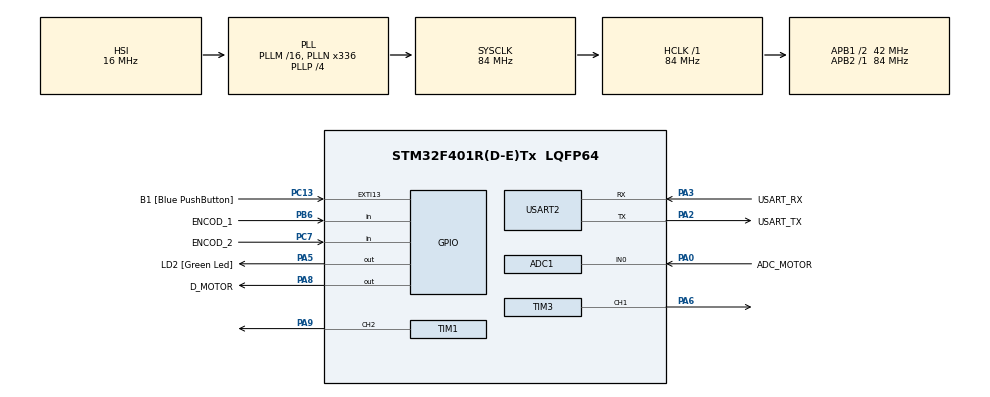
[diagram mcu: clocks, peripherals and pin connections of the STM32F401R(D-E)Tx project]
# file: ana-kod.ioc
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ADC1.Channel-2\#ChannelRegularConversion=ADC_CHANNEL_0
ADC1.NbrOfConversionFlag=1
ADC1.Rank-2\#ChannelRegularConversion=1
ADC1.SamplingTime-2\#ChannelRegularConversion=ADC_SAMPLETIME_3CYCLES
ADC1.master=1
Mcu.Family=STM32F4
Mcu.Name=STM32F401R(D-E)Tx
Mcu.Package=LQFP64
NVIC.PriorityGroup=NVIC_PRIORITYGROUP_0
PA0-WKUP.GPIO_Label=ADC_MOTOR
PA0-WKUP.Signal=ADCx_IN0
PA13.GPIO_Label=TMS
PA13.Mode=Serial_Wire
PA13.Signal=SYS_JTMS-SWDIO
PA14.GPIO_Label=TCK
PA14.Mode=Serial_Wire
PA14.Signal=SYS_JTCK-SWCLK
PA2.GPIO_Label=USART_TX
PA2.GPIO_Mode=GPIO_MODE_AF_PP
PA2.GPIO_PuPd=GPIO_NOPULL
PA2.GPIO_Speed=GPIO_SPEED_FREQ_LOW
PA2.Mode=Asynchronous
PA2.Signal=USART2_TX
PA3.GPIO_Label=USART_RX
PA3.GPIO_Mode=GPIO_MODE_AF_PP
PA3.GPIO_PuPd=GPIO_NOPULL
PA3.GPIO_Speed=GPIO_SPEED_FREQ_LOW
PA3.Mode=Asynchronous
PA3.Signal=USART2_RX
PA5.GPIO_Label=LD2 [Green Led]
PA5.GPIO_Mode=GPIO_MODE_OUTPUT_PP
PA5.GPIO_PuPd=GPIO_NOPULL
PA5.GPIO_Speed=GPIO_SPEED_FREQ_LOW
PA5.Signal=GPIO_Output
PA6.Signal=S_TIM3_CH1
PA8.GPIO_Label=D_MOTOR
PA8.Signal=GPIO_Output
PA9.Signal=S_TIM1_CH2
PB3.GPIO_Label=SWO
PB3.Signal=SYS_JTDO-SWO
PB6.GPIO_Label=ENCOD_1
PB6.Signal=GPIO_Input
PC13-ANTI_TAMP.GPIO_Label=B1 [Blue PushButton]
PC13-ANTI_TAMP.GPIO_ModeDefaultEXTI=GPIO_MODE_IT_FALLING
PC13-ANTI_TAMP.GPIO_PuPd=GPIO_NOPULL
PC13-ANTI_TAMP.Signal=GPXTI13
PC14-OSC32_IN.Mode=LSE-External-Oscillator
PC14-OSC32_IN.Signal=RCC_OSC32_IN
PC15-OSC32_OUT.Mode=LSE-External-Oscillator
PC15-OSC32_OUT.Signal=RCC_OSC32_OUT
PC7.GPIO_Label=ENCOD_2
PC7.Signal=GPIO_Input
PH0\ -\ OSC_IN.Mode=HSE-External-Oscillator
PH0\ -\ OSC_IN.Signal=RCC_OSC_IN
PH1\ -\ OSC_OUT.Mode=HSE-External-Oscillator
PH1\ -\ OSC_OUT.Signal=RCC_OSC_OUT
ProjectManager.HeapSize=0x200
ProjectManager.StackSize=0x400
ProjectManager.TargetToolchain=STM32CubeIDE
RCC.48MHZClocksFreq_Value=48000000
RCC.AHBFreq_Value=84000000
RCC.APB1CLKDivider=RCC_HCLK_DIV2
RCC.APB1Freq_Value=42000000
RCC.APB1TimFreq_Value=84000000
RCC.APB2Freq_Value=84000000
RCC.APB2TimFreq_Value=84000000
RCC.CortexFreq_Value=84000000
RCC.HCLKFreq_Value=84000000
RCC.HSE_VALUE=8000000
RCC.HSI_VALUE=16000000
RCC.PLLN=336
RCC.PLLP=RCC_PLLP_DIV4
RCC.PLLQ=7
RCC.SYSCLKFreq_VALUE=84000000
RCC.SYSCLKSource=RCC_SYSCLKSOURCE_PLLCLK
RCC.VCOOutputFreq_Value=336000000
SH.ADCx_IN0.0=ADC1_IN0,IN0
SH.S_TIM1_CH2.0=TIM1_CH2,PWM Generation2 CH2
SH.S_TIM3_CH1.0=TIM3_CH1,PWM Generation1 CH1
TIM1.Channel-PWM\ Generation2\ CH2=TIM_CHANNEL_2
TIM1.Period=4096
TIM1.Prescaler=2
TIM3.Channel-PWM\ Generation1\ CH1=TIM_CHANNEL_1
USART2.VirtualMode=VM_ASYNC
VP_TIM1_VS_ClockSourceINT.Mode=Internal
board=NUCLEO-F401RE

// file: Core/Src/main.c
/* USER CODE BEGIN Header */
/**
 ******************************************************************************
 * @file           : main.c
 * @brief          : Main program body
 ******************************************************************************
 * @attention
 *
 * Copyright (c) 2024 STMicroelectronics.
 * All rights reserved.
 *
 * This software is licensed under terms that can be found in the LICENSE file
 * in the root directory of this software component.
 * If no LICENSE file comes with this software, it is provided AS-IS.
 *
 ******************************************************************************
 */
/* USER CODE END Header */
#include "main.h"
#include "adc.h"
#include "tim.h"
#include "usart.h"
#include "gpio.h"

/* USER CODE BEGIN Includes */
#include "system.h"
#include "controller.h"
/* USER CODE END Includes */

void SystemClock_Config(void);

int main(void) {

	/* MCU Configuration--------------------------------------------------------*/

	/* Reset of all peripherals, Initializes the Flash interface and the Systick. */
	HAL_Init();

	/* Configure the system clock */
	SystemClock_Config();

	/* Initialize all configured peripherals */
	MX_GPIO_Init();
	MX_ADC1_Init();
	MX_TIM1_Init();
	MX_USART2_UART_Init();
	MX_TIM3_Init();
	/* USER CODE BEGIN 2 */
	HAL_TIM_Base_Start(&htim3);
	HAL_TIM_PWM_Start(&htim3, TIM_CHANNEL_1);
	uint32_t time_prev = HAL_GetTick();

	initializeController();
	/* USER CODE END 2 */

	/* Infinite loop */
	while (1) {

		/* USER CODE BEGIN 3 */
		float voltage_out = controlMotor(motor_speed);
		__HAL_TIM_SET_COMPARE(&htim3, TIM_CHANNEL_1, pwm_duty * (htim3.Init.Period / 8));

		HAL_GPIO_WritePin(D_MOTOR_GPIO_Port, D_MOTOR_Pin, GPIO_PIN_SET);

		if (HAL_GetTick() - time_prev > 2000) {
			time_prev = HAL_GetTick();
			__HAL_TIM_SET_COMPARE(&htim3, TIM_CHANNEL_1,
					pwm_duty * (htim3.Init.Period / 8));
			pwm_duty++;

			if (pwm_duty > 8)
				pwm_duty = 0;
		}

		if (HAL_GPIO_ReadPin(ENCOD_1_GPIO_Port, ENCOD_1_Pin)) {
			encoder_count++;
		}

		else if (HAL_GPIO_ReadPin(ENCOD_2_GPIO_Port, ENCOD_2_Pin)) {
			encoder_count--;
		}

		if (encoder_count > 20)
			encoder_count = 0;

		else if (encoder_count < 0)
			encoder_count = 20;
	}
	/* USER CODE END 3 */
}

void SystemClock_Config(void) {
	RCC_OscInitTypeDef RCC_OscInitStruct = { 0 };
	RCC_ClkInitTypeDef RCC_ClkInitStruct = { 0 };

	/** Configure the main internal regulator output voltage
	 */
	__HAL_RCC_PWR_CLK_ENABLE();
	__HAL_PWR_VOLTAGESCALING_CONFIG(PWR_REGULATOR_VOLTAGE_SCALE2);

	/** Initializes the RCC Oscillators according to the specified parameters
	 * in the RCC_OscInitTypeDef structure.
	 */
	RCC_OscInitStruct.OscillatorType = RCC_OSCILLATORTYPE_HSI;
	RCC_OscInitStruct.HSIState = RCC_HSI_ON;
	RCC_OscInitStruct.HSICalibrationValue = RCC_HSICALIBRATION_DEFAULT;
	RCC_OscInitStruct.PLL.PLLState = RCC_PLL_ON;
	RCC_OscInitStruct.PLL.PLLSource = RCC_PLLSOURCE_HSI;
	RCC_OscInitStruct.PLL.PLLM = 16;
	RCC_OscInitStruct.PLL.PLLN = 336;
	RCC_OscInitStruct.PLL.PLLP = RCC_PLLP_DIV4;
	RCC_OscInitStruct.PLL.PLLQ = 7;
	if (HAL_RCC_OscConfig(&RCC_OscInitStruct) != HAL_OK) {
		Error_Handler();
	}

	/** Initializes the CPU, AHB and APB buses clocks
	 */
	RCC_ClkInitStruct.ClockType = RCC_CLOCKTYPE_HCLK | RCC_CLOCKTYPE_SYSCLK
			| RCC_CLOCKTYPE_PCLK1 | RCC_CLOCKTYPE_PCLK2;
	RCC_ClkInitStruct.SYSCLKSource = RCC_SYSCLKSOURCE_PLLCLK;
	RCC_ClkInitStruct.AHBCLKDivider = RCC_SYSCLK_DIV1;
	RCC_ClkInitStruct.APB1CLKDivider = RCC_HCLK_DIV2;
	RCC_ClkInitStruct.APB2CLKDivider = RCC_HCLK_DIV1;

	if (HAL_RCC_ClockConfig(&RCC_ClkInitStruct, FLASH_LATENCY_2) != HAL_OK) {
		Error_Handler();
	}
}

void Error_Handler(void) {
	__disable_irq();
	while (1) {
	}
}
